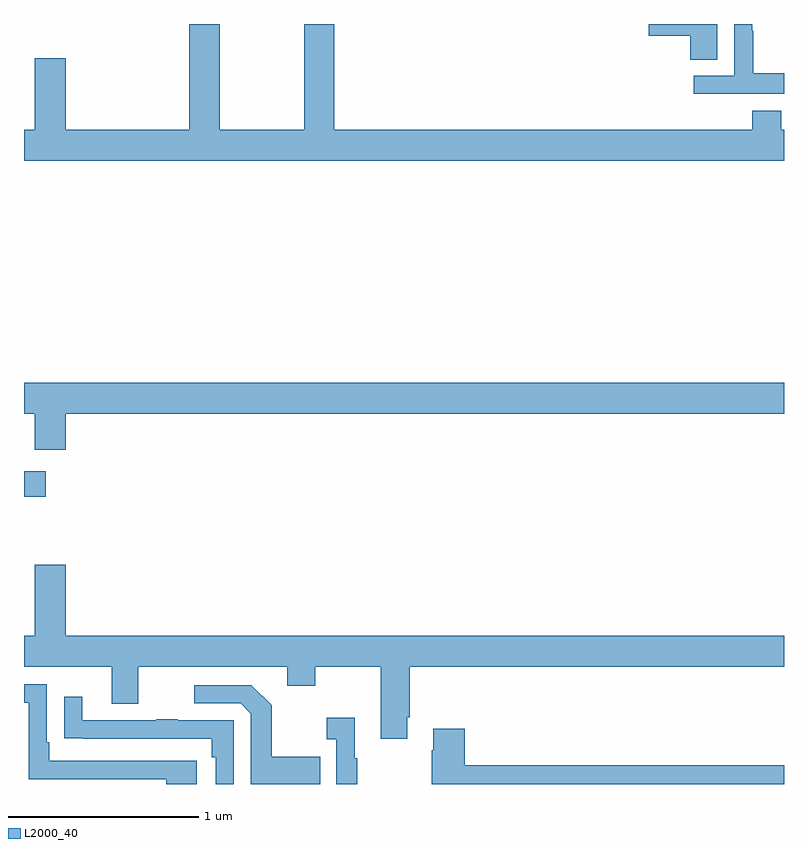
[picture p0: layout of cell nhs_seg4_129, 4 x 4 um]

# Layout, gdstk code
import gdstk
lib = gdstk.Library(unit=1e-6, precision=1e-09)
def R(c, l, rs):  # rectangles x0, y0, x1, y1
    for r in rs: c.add(gdstk.rectangle(r[:2], r[2:], *l))
def P(c, l, *ps):  # polygons
    for p in ps: c.add(gdstk.Polygon(p, *l))
L2000_40 = (2000, 40)

nhs_seg4_129 = lib.new_cell('nhs_seg4_129')
R(nhs_seg4_129, L2000_40, [(117,768.413,117.115,768.547)])
P(nhs_seg4_129, L2000_40, [(121,770.344),(120.985,770.344),(120.985,770.443),(120.833,770.443),(120.833,770.344),(118.634,770.344),(118.634,770.9),(118.474,770.9),(118.474,770.344),(118.029,770.344),(118.029,770.9),(117.869,770.9),(117.869,770.344),(117.22,770.344),(117.22,770.719),(117.056,770.719),(117.056,770.344),(117,770.344),(117,770.18),(121,770.18)],
  [(121,770.641),(120.837,770.641),(120.837,770.864),(120.834,770.864),(120.834,770.9),(120.738,770.9),(120.738,770.628),(120.525,770.628),(120.525,770.532),(121,770.532)],
  [(120.649,770.9),(120.288,770.9),(120.288,770.837),(120.506,770.837),(120.506,770.713),(120.649,770.713)],
  [(117.22,768.848),(121,768.848),(121,769.012),(117,769.012),(117,768.848),(117.056,768.848),(117.056,768.66),(117.22,768.66)],
  [(119.017,767.251),(119.03,767.251),(119.03,767.516),(121,767.516),(121,767.68),(117.22,767.68),(117.22,768.055),(117.056,768.055),(117.056,767.68),(117,767.68),(117,767.516),(117.461,767.516),(117.461,767.322),(117.601,767.322),(117.601,767.516),(118.385,767.516),(118.385,767.417),(118.533,767.417),(118.533,767.516),(118.877,767.516),(118.877,767.139),(119.017,767.139)],
  [(117.91,767.022),(117.133,767.022),(117.133,767.119),(117.12,767.119),(117.12,767.424),(117,767.424),(117,767.328),(117.024,767.328),(117.024,766.926),(117.749,766.926),(117.749,766.9),(117.91,766.9)],
  [(118.559,767.043),(118.303,767.043),(118.303,767.315),(118.197,767.421),(117.897,767.421),(117.897,767.325),(118.14,767.325),(118.194,767.271),(118.194,766.9),(118.559,766.9)],
  [(118.104,767.235),(117.809,767.235),(117.809,767.24),(117.697,767.24),(117.697,767.235),(117.307,767.235),(117.307,767.359),(117.211,767.359),(117.211,767.14),(117.313,767.14),(117.313,767.139),(117.988,767.139),(117.988,767.042),(118.008,767.042),(118.008,766.9),(118.104,766.9)],
  [(118.753,767.035),(118.741,767.035),(118.741,767.248),(118.593,767.248),(118.593,767.135),(118.644,767.135),(118.644,766.9),(118.753,766.9)],
  [(121,767),(119.321,767),(119.321,767.191),(119.153,767.191),(119.153,767.078),(119.146,767.078),(119.146,766.9),(121,766.9)])

lib.write_gds('nhs_seg4_129.gds')
